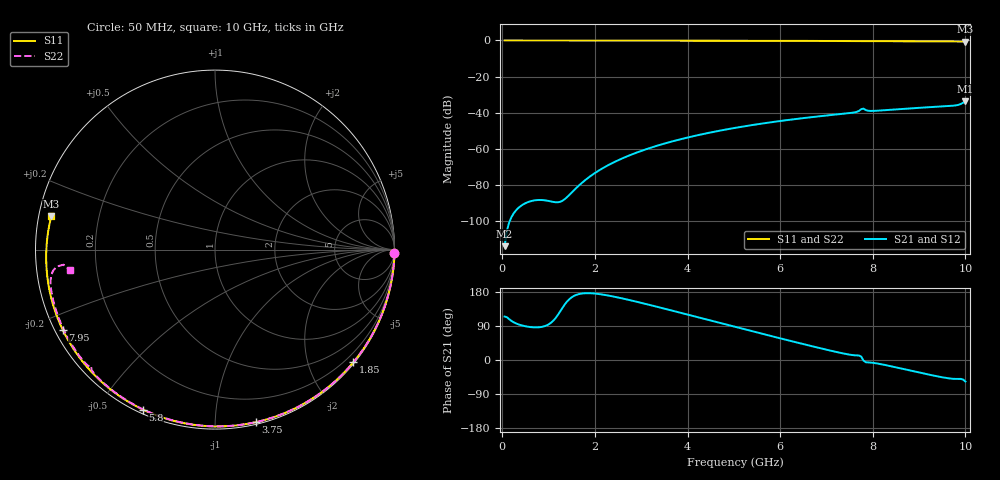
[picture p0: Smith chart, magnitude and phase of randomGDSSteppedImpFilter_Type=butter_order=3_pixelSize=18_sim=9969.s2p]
! freq	dB(S11)	phase(S11)	dB(S12)	phase(S12)
!  dB(S21)	phase(S21)	dB(S22)	phase(S22)
!S-par simulation data
#  GHz  S  DB  R 50
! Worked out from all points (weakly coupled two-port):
!   200 points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, 50 MHz to 10 GHz, reference 50 ohm
!   highest |S21| = -33.72 dB at 10 GHz (marker M1); lowest = -113.8 dB at 50 MHz (marker M2)
!   lowest |S11| = -0.6 dB at 10 GHz (marker M3), VSWR 27.98, Z = 1.8 + j5.01 ohm
!   |S11| at or under -10 dB: nowhere
!   |S22| runs from -1.7 to 0.0 dB; largest |S21 - S12| = 0
!   S11 on the Smith chart (normalised r, x): 50 MHz: open; 1.85 GHz: 0.03, -2.81; 3.75 GHz: 0.02, -1.26; 5.8 GHz: 0.02, -0.65; 7.95 GHz: 0.02, -0.25; 10 GHz: 0.04, +0.10
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0.05  -0.00 -1.1  -113.84 114.7  -113.84 114.7  -0.00 -1.0
0.8  -0.02 -17.2  -88.27 86.4  -88.27 86.4  -0.02 -15.8
1.65  -0.04 -35.0  -80.39 173.8  -80.39 173.8  -0.04 -32.3
1.75  -0.05 -37.1  -78.14 175.8  -78.14 175.8  -0.04 -34.2
1.85  -0.05 -39.1  -76.09 176.3  -76.09 176.3  -0.05 -36.2
2.15  -0.06 -45.3  -70.97 173.0  -70.97 173.0  -0.05 -41.8
2.5  -0.07 -52.3  -66.31 164.9  -66.31 164.9  -0.06 -48.4
2.9  -0.08 -60.3  -62.07 153.8  -62.07 153.8  -0.07 -55.8
3.4  -0.09 -70.1  -57.81 138.6  -57.81 138.6  -0.09 -64.8
3.75  -0.10 -76.8  -55.32 127.7  -55.32 127.7  -0.10 -71.0
4.4  -0.13 -89.0  -51.43 107.3  -51.43 107.3  -0.12 -82.2
5.05  -0.16 -100.9  -48.27 86.8  -48.27 86.8  -0.14 -93.1
5.8  -0.20 -114.3  -45.28 63.4  -45.28 63.4  -0.18 -105.4
6.7  -0.26 -130.1  -42.37 36.0  -42.37 36.0  -0.23 -119.7
7.6  -0.33 -146.0  -39.83 12.5  -39.83 12.5  -0.31 -134.0
7.8  -0.35 -149.5  -37.72 -1.6  -37.72 -1.6  -0.46 -136.5
7.95  -0.36 -152.3  -39.00 -6.7  -39.00 -6.7  -0.35 -138.8
8.35  -0.41 -159.5  -38.43 -15.4  -38.43 -15.4  -0.37 -145.3
9.05  -0.49 -172.6  -37.20 -34.3  -37.20 -34.3  -0.44 -156.6
9.7  -0.58 174.7  -36.19 -49.2  -36.19 -49.2  -0.59 -168.5
9.9  -0.61 170.6  -35.17 -49.9  -35.17 -49.9  -1.03 -173.9
10  -0.62 168.5  -33.72 -56.8  -33.72 -56.8  -1.74 -172.0
